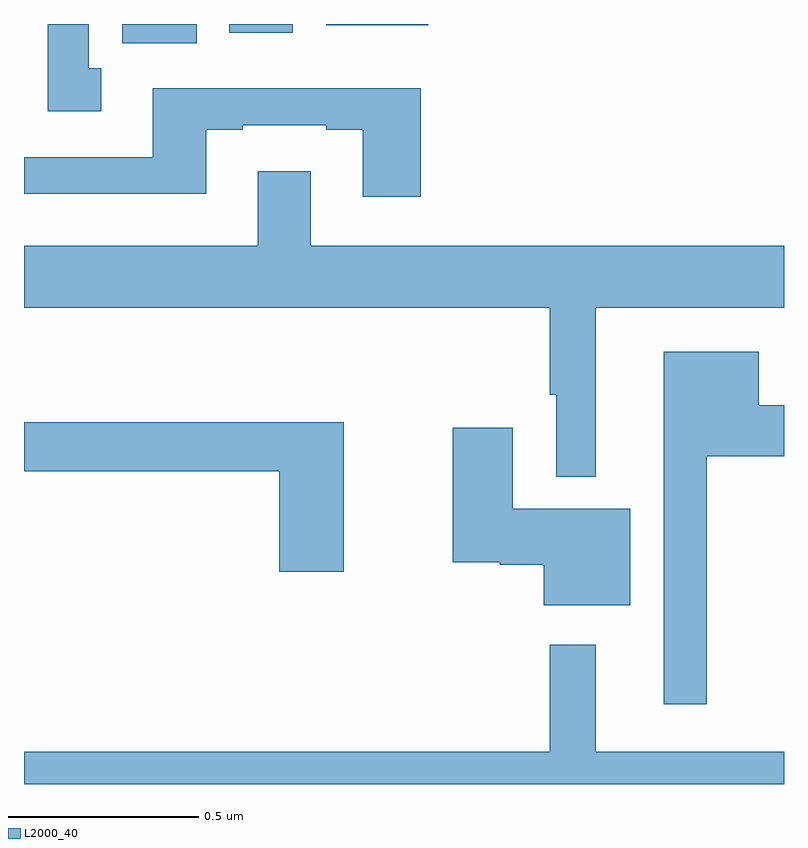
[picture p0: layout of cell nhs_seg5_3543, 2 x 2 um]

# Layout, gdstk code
import gdstk
lib = gdstk.Library(unit=1e-6, precision=1e-09)
def R(c, l, rs):  # rectangles x0, y0, x1, y1
    for r in rs: c.add(gdstk.rectangle(r[:2], r[2:], *l))
def P(c, l, *ps):  # polygons
    for p in ps: c.add(gdstk.Polygon(p, *l))
L2000_40 = (2000, 40)

nhs_seg5_3543 = lib.new_cell('nhs_seg5_3543')
R(nhs_seg5_3543, L2000_40, [(158.258,898.748,158.455,898.799), (158.54,898.776,158.707,898.799), (158.795,898.796,159.064,898.799)])
P(nhs_seg5_3543, L2000_40, [(158.203,898.682),(158.17,898.682),(158.17,898.799),(158.063,898.799),(158.063,898.569),(158.203,898.569)],
  [(159.044,898.63),(158.339,898.63),(158.339,898.449),(158,898.449),(158,898.352),(158.479,898.352),(158.479,898.521),(158.575,898.521),(158.575,898.533),(158.795,898.533),(158.795,898.521),(158.891,898.521),(158.891,898.344),(159.044,898.344)],
  [(159.505,898.052),(160,898.052),(160,898.216),(158.755,898.216),(158.755,898.411),(158.615,898.411),(158.615,898.216),(158,898.216),(158,898.052),(159.384,898.052),(159.384,897.823),(159.401,897.823),(159.401,897.608),(159.505,897.608)],
  [(159.797,897.662),(160,897.662),(160,897.796),(159.934,897.796),(159.934,897.937),(159.683,897.937),(159.683,897.009),(159.797,897.009)],
  [(158.842,897.751),(158,897.751),(158,897.622),(158.672,897.622),(158.672,897.357),(158.842,897.357)],
  [(159.595,897.523),(159.286,897.523),(159.286,897.736),(159.128,897.736),(159.128,897.383),(159.252,897.383),(159.252,897.376),(159.368,897.376),(159.368,897.269),(159.595,897.269)],
  [(160,896.884),(159.505,896.884),(159.505,897.166),(159.384,897.166),(159.384,896.884),(158,896.884),(158,896.799),(160,896.799)])

lib.write_gds('nhs_seg5_3543.gds')
